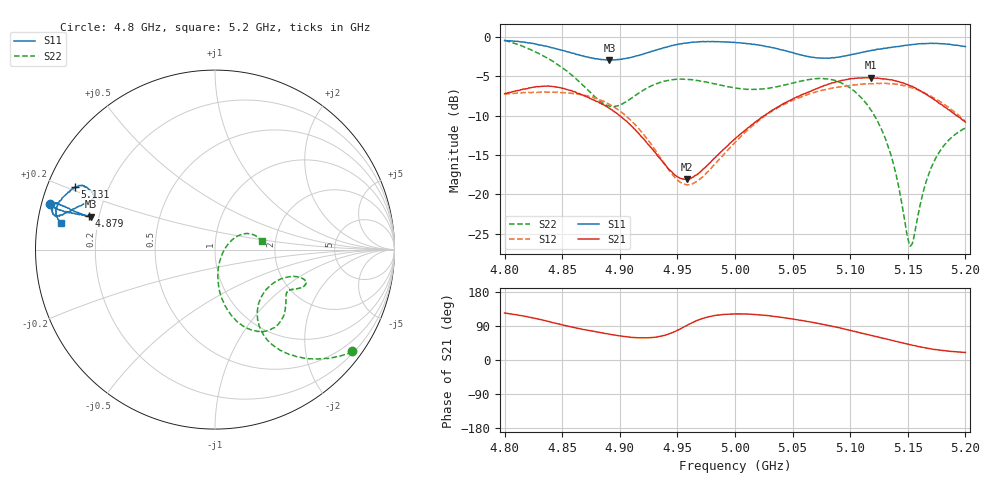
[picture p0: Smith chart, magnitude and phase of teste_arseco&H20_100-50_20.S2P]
! Network Analyzer HP8722D
! Hewlett-Packard
! Data name: Linha & Wilkinson
! Saver's name: Rodrigo Anjos
! Comments: Teste da utilização de aquisição
! continua pelo VNA HP8722D
! Time and date: 6/5/2025 12:44
!  Frequency  S11  S21  S12  S22
# HZ  S  MA R 50
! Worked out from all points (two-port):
!   401 points, 4.8 GHz to 5.2 GHz, reference 50 ohm
!   highest |S21| = -5.15 dB at 5.118 GHz (marker M1); lowest = -18.1 dB at 4.958 GHz (marker M2)
!   |S21| within 3 dB of the highest: start of sweep to 4.879 GHz; 5.046 GHz to 5.175 GHz (128.7 MHz wide, 2.52 % of centre)
!   lowest |S11| = -2.9 dB at 4.891 GHz (marker M3), VSWR 6.02, Z = 8.44 + j6.32 ohm
!   |S11| at or under -10 dB: nowhere
!   |S22| runs from -26.6 to -0.4 dB; largest |S21 - S12| = 0.71
!   S11 on the Smith chart (normalised r, x): 4.8 GHz: 0.02, +0.14; 4.879 GHz: 0.16, +0.13; 5.131 GHz: 0.08, +0.21; 5.2 GHz: 0.07, +0.09
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4.8e9  0.9533 164.4  0.4371 123.9  0.4341 19.3  0.9518 -36.6
4.834e9  0.8815 165.7  0.4876 104.7  0.4465 8.7  0.7575 -52.3
4.867e9  0.7622 165.4  0.4304 81.3  0.4308 -5.0  0.5034 -60.1
4.879e9  0.7288 165.1  0.3917 74.8  0.4093 -11.9  0.4138 -55.2
4.891e9  0.7152 165.2  0.3528 68.3  0.3736 -19.5  0.3641 -42.5
4.91e9  0.7444 165.3  0.2728 59.8  0.2936 -30.1  0.409 -23.2
4.934e9  0.8384 164.4  0.1719 61.6  0.1768 -32.5  0.5118 -18.1
4.958e9  0.9193 163.7  0.1248 90.7  0.115 -1.6  0.5392 -21.4
5e9  0.9258 167.5  0.2256 121.4  0.2145 39.9  0.475 -28.0
5.036e9  0.8457 165.7  0.3558 114.3  0.3517 35.3  0.483 -35.2
5.067e9  0.7445 158.7  0.4592 99.7  0.4416 22.1  0.5411 -47.6
5.094e9  0.7571 155.1  0.5327 82.4  0.4868 7.0  0.5046 -63.7
5.118e9  0.8227 154.2  0.5529 65.0  0.5068 -7.6  0.3443 -78.2
5.131e9  0.8528 156.0  0.5424 55.8  0.5082 -15.8  0.2218 -84.2
5.134e9  0.8581 156.4  0.5355 53.6  0.5063 -18.0  0.1917 -84.5
5.141e9  0.8735 158.1  0.5233 48.4  0.5012 -22.6  0.1222 -82.1
5.15e9  0.8906 160.4  0.4982 41.7  0.4841 -28.8  0.05255 -48.7
5.153e9  0.8959 161.0  0.4885 39.6  0.4782 -30.8  0.04752 -18.7
5.164e9  0.9082 163.9  0.4418 32.5  0.4448 -37.7  0.1079 29.5
5.172e9  0.9147 165.6  0.4047 28.3  0.4121 -42.0  0.1577 30.5
5.184e9  0.9031 167.9  0.3524 24.0  0.3637 -47.4  0.2157 24.1
5.2e9  0.8721 170.2  0.2884 19.8  0.292 -52.1  0.264 10.2
